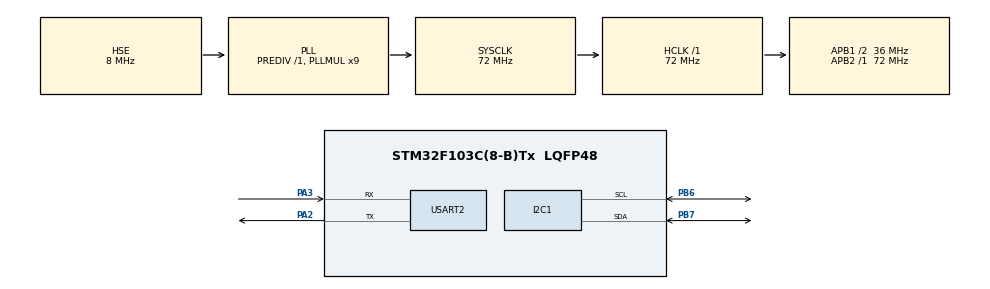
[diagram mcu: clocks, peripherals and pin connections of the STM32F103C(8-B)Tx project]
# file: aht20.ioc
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Dma.I2C1_RX.0.Direction=DMA_PERIPH_TO_MEMORY
Dma.I2C1_RX.0.Instance=DMA1_Channel7
Dma.I2C1_RX.0.MemDataAlignment=DMA_MDATAALIGN_BYTE
Dma.I2C1_RX.0.MemInc=DMA_MINC_ENABLE
Dma.I2C1_RX.0.Mode=DMA_NORMAL
Dma.I2C1_RX.0.PeriphDataAlignment=DMA_PDATAALIGN_BYTE
Dma.I2C1_RX.0.PeriphInc=DMA_PINC_DISABLE
Dma.I2C1_RX.0.Priority=DMA_PRIORITY_LOW
Dma.I2C1_TX.1.Direction=DMA_MEMORY_TO_PERIPH
Dma.I2C1_TX.1.Instance=DMA1_Channel6
Dma.I2C1_TX.1.MemDataAlignment=DMA_MDATAALIGN_BYTE
Dma.I2C1_TX.1.MemInc=DMA_MINC_ENABLE
Dma.I2C1_TX.1.Mode=DMA_NORMAL
Dma.I2C1_TX.1.PeriphDataAlignment=DMA_PDATAALIGN_BYTE
Dma.I2C1_TX.1.PeriphInc=DMA_PINC_DISABLE
Dma.I2C1_TX.1.Priority=DMA_PRIORITY_LOW
Dma.Request0=I2C1_RX
Dma.Request1=I2C1_TX
Mcu.Family=STM32F1
Mcu.Name=STM32F103C(8-B)Tx
Mcu.Package=LQFP48
NVIC.DMA1_Channel6_IRQn=true\:0\:0\:false\:false\:true\:false\:true\:true
NVIC.DMA1_Channel7_IRQn=true\:0\:0\:false\:false\:true\:false\:true\:true
NVIC.I2C1_ER_IRQn=true\:0\:0\:false\:false\:true\:true\:true\:true
NVIC.I2C1_EV_IRQn=true\:0\:0\:false\:false\:true\:true\:true\:true
NVIC.PriorityGroup=NVIC_PRIORITYGROUP_4
PA13.Mode=Serial_Wire
PA13.Signal=SYS_JTMS-SWDIO
PA14.Mode=Serial_Wire
PA14.Signal=SYS_JTCK-SWCLK
PA2.Mode=Asynchronous
PA2.Signal=USART2_TX
PA3.Mode=Asynchronous
PA3.Signal=USART2_RX
PB6.Mode=I2C
PB6.Signal=I2C1_SCL
PB7.Mode=I2C
PB7.Signal=I2C1_SDA
PD0-OSC_IN.Mode=HSE-External-Oscillator
PD0-OSC_IN.Signal=RCC_OSC_IN
PD1-OSC_OUT.Mode=HSE-External-Oscillator
PD1-OSC_OUT.Signal=RCC_OSC_OUT
ProjectManager.HeapSize=0x200
ProjectManager.StackSize=0x400
ProjectManager.TargetToolchain=STM32CubeIDE
RCC.AHBFreq_Value=72000000
RCC.APB1CLKDivider=RCC_HCLK_DIV2
RCC.APB1Freq_Value=36000000
RCC.APB1TimFreq_Value=72000000
RCC.APB2Freq_Value=72000000
RCC.APB2TimFreq_Value=72000000
RCC.HCLKFreq_Value=72000000
RCC.PLLMUL=RCC_PLL_MUL9
RCC.PLLSourceVirtual=RCC_PLLSOURCE_HSE
RCC.SYSCLKFreq_VALUE=72000000
RCC.SYSCLKSource=RCC_SYSCLKSOURCE_PLLCLK
RCC.USBFreq_Value=72000000
USART2.VirtualMode=VM_ASYNC
board=custom

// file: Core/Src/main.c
/* USER CODE BEGIN Header */
/**
  ******************************************************************************
  * @file           : main.c
  * @brief          : Main program body
  ******************************************************************************
  * @attention
  *
  * Copyright (c) 2024 STMicroelectronics.
  * All rights reserved.
  *
  * This software is licensed under terms that can be found in the LICENSE file
  * in the root directory of this software component.
  * If no LICENSE file comes with this software, it is provided AS-IS.
  *
  ******************************************************************************
  */
/* USER CODE END Header */
#include "main.h"
#include "dma.h"
#include "i2c.h"
#include "usart.h"
#include "gpio.h"

/* USER CODE BEGIN Includes */
#include "aht20.h"
#include "stdio.h"
#include "string.h"
/* USER CODE END Includes */

/* USER CODE BEGIN PV */
//
uint8_t aht20Stata=0;
/* USER CODE END PV */

void SystemClock_Config(void);

int main(void)
{

  /* MCU Configuration--------------------------------------------------------*/

  /* Reset of all peripherals, Initializes the Flash interface and the Systick. */
  HAL_Init();

  /* Configure the system clock */
  SystemClock_Config();

  /* Initialize all configured peripherals */
  MX_GPIO_Init();
  MX_DMA_Init();
  MX_I2C1_Init();
  MX_USART2_UART_Init();
  /* USER CODE BEGIN 2 */
  AHT20_Init();
  float temperature, humidity;
  char message[50];

  /* USER CODE END 2 */

  /* Infinite loop */
  /* USER CODE BEGIN WHILE */
  while (1)
  {
    if (aht20Stata==0)
    {
      AHT20_Measure();
      aht20Stata=1;
    }else if (aht20Stata==2)
    {
      HAL_Delay(75);
      AHT20_Get();
      aht20Stata=3;
    }else if (aht20Stata==4)
    {
      AHT20_Analysis(&temperature, &humidity);
      sprintf(message,"温度 %.1f  , 湿度%.1f %%\r\n",temperature,humidity);
      HAL_UART_Transmit(&huart2, (uint8_t*)message, strlen(message), HAL_MAX_DELAY);
      HAL_Delay(1000);
      aht20Stata=0;
    }

    // AHT20_Read(&temperature, &humidity);
    // sprintf(message,"温度 %.1f  , 湿度%.1f %%\r\n",temperature,humidity);
    // HAL_UART_Transmit(&huart2, (uint8_t*)message, strlen(message), HAL_MAX_DELAY);
    // HAL_Delay(1000);
    /* USER CODE END WHILE */

  }
}

void SystemClock_Config(void)
{
  RCC_OscInitTypeDef RCC_OscInitStruct = {0};
  RCC_ClkInitTypeDef RCC_ClkInitStruct = {0};

  /** Initializes the RCC Oscillators according to the specified parameters
  * in the RCC_OscInitTypeDef structure.
  */
  RCC_OscInitStruct.OscillatorType = RCC_OSCILLATORTYPE_HSE;
  RCC_OscInitStruct.HSEState = RCC_HSE_ON;
  RCC_OscInitStruct.HSEPredivValue = RCC_HSE_PREDIV_DIV1;
  RCC_OscInitStruct.HSIState = RCC_HSI_ON;
  RCC_OscInitStruct.PLL.PLLState = RCC_PLL_ON;
  RCC_OscInitStruct.PLL.PLLSource = RCC_PLLSOURCE_HSE;
  RCC_OscInitStruct.PLL.PLLMUL = RCC_PLL_MUL9;
  if (HAL_RCC_OscConfig(&RCC_OscInitStruct) != HAL_OK)
  {
    Error_Handler();
  }

  /** Initializes the CPU, AHB and APB buses clocks
  */
  RCC_ClkInitStruct.ClockType = RCC_CLOCKTYPE_HCLK|RCC_CLOCKTYPE_SYSCLK
                              |RCC_CLOCKTYPE_PCLK1|RCC_CLOCKTYPE_PCLK2;
  RCC_ClkInitStruct.SYSCLKSource = RCC_SYSCLKSOURCE_PLLCLK;
  RCC_ClkInitStruct.AHBCLKDivider = RCC_SYSCLK_DIV1;
  RCC_ClkInitStruct.APB1CLKDivider = RCC_HCLK_DIV2;
  RCC_ClkInitStruct.APB2CLKDivider = RCC_HCLK_DIV1;

  if (HAL_RCC_ClockConfig(&RCC_ClkInitStruct, FLASH_LATENCY_2) != HAL_OK)
  {
    Error_Handler();
  }
}

void Error_Handler(void)
{
  __disable_irq();
  while (1)
  {
  }
}
